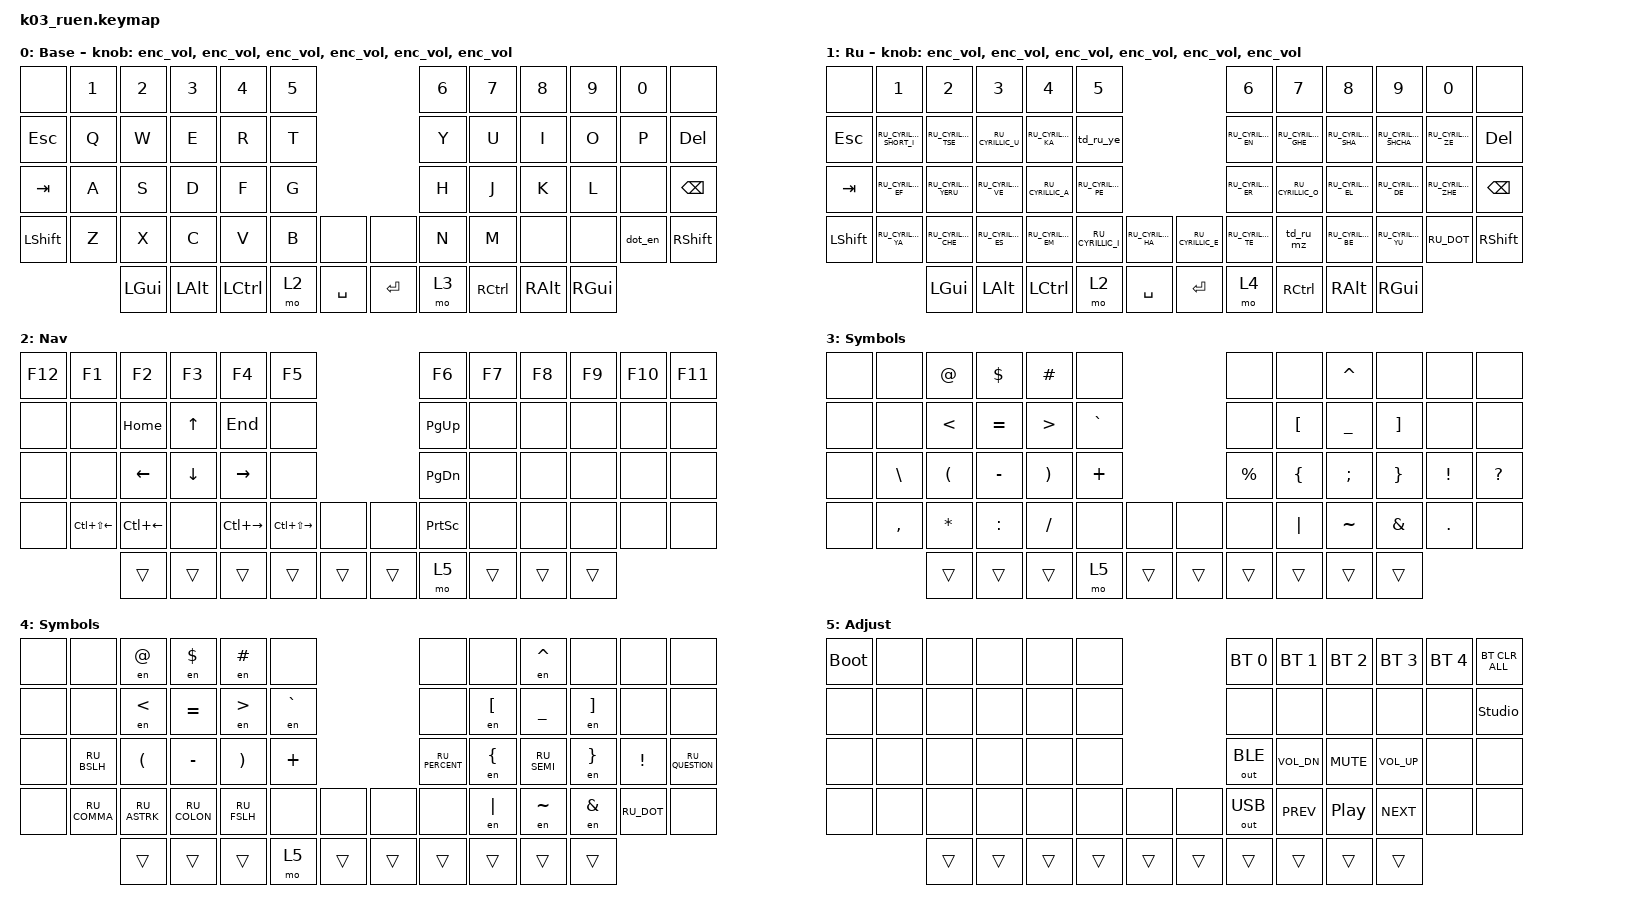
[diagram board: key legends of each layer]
#include "keys_ru.h"
#include <behaviors.dtsi>
#include <dt-bindings/zmk/bt.h>
#include <dt-bindings/zmk/keys.h>
#include <dt-bindings/zmk/outputs.h>

/ {
    behaviors {
        enc_vol: enc_vol {
            compatible = "zmk,behavior-sensor-rotate";
            label = "ENC_VOL";
            #sensor-binding-cells = <0>;
            bindings = <&kp C_VOL_UP>, <&kp C_VOL_DN>;
        };

        td_ru_mz: td_ru_mz {
            compatible = "zmk,behavior-tap-dance";
            label = "TD_RU_MZ";
            #binding-cells = <0>;
            bindings = <&kp RU_CYRILLIC_SOFT_SIGN>, <&kp RU_CYRILLIC_HARD_SIGN>;
        };

        td_ru_ye: td_ru_ye {
            compatible = "zmk,behavior-tap-dance";
            label = "TD_RU_YE";
            #binding-cells = <0>;
            bindings = <&kp RU_CYRILLIC_IE>, <&kp RU_CYRILLIC_IO>;
        };

        dot_en: dot_en {
            compatible = "zmk,behavior-mod-morph";
            label = "DOT_EN";
            bindings = <&kp DOT>, <&kp COMMA>;

            #binding-cells = <0>;
            mods = <(MOD_LSFT|MOD_RSFT)>;
        };
    };

    combos {
        compatible = "zmk,combos";

        cmben {
            bindings = <&layer_en>;
            key-positions = <15 16>;
            layers = <1>;
        };

        cmbru {
            bindings = <&layer_ru>;
            key-positions = <15 16>;
            layers = <0>;
        };
    };

    macros {
        to_ru: to_ru {
            compatible = "zmk,behavior-macro";
            #binding-cells = <0>;
            bindings = <&kp LS(LA(N2))>;
            label = "TO_RU";
            wait-ms = <0>;
            tap-ms = <30>;
        };

        to_en: to_en {
            compatible = "zmk,behavior-macro";
            #binding-cells = <0>;
            bindings = <&kp LS(LA(N1))>;
            label = "TO_EN";
            wait-ms = <0>;
            tap-ms = <30>;
        };

        layer_en: layer_en {
            compatible = "zmk,behavior-macro";
            #binding-cells = <0>;
            bindings = <&to 0 &to_en>;
            label = "LAYER_EN";
            wait-ms = <0>;
            tap-ms = <30>;
        };

        layer_ru: layer_ru {
            compatible = "zmk,behavior-macro";
            #binding-cells = <0>;
            bindings = <&to 1 &to_ru>;
            label = "LAYER_RU";
            tap-ms = <30>;
            wait-ms = <0>;
        };

        en: en {
            compatible = "zmk,behavior-macro-one-param";
            #binding-cells = <1>;
            bindings =
                <&to_en>,
                <&macro_press>,
                <&macro_param_1to1 &kp MACRO_PLACEHOLDER>,
                <&macro_pause_for_release>,
                <&macro_release>,
                <&macro_param_1to1 &kp MACRO_PLACEHOLDER>,
                <&macro_tap>,
                <&to_ru>;

            label = "EN";
            wait-ms = <0>;
            tap-ms = <30>;
        };
    };

    keymap {
        compatible = "zmk,keymap";

        en {
            bindings = <
&none      &kp N1  &kp N2    &kp N3    &kp N4     &kp N5                          &kp N6  &kp N7     &kp N8    &kp N9    &kp N0   &none
&kp ESC    &kp Q   &kp W     &kp E     &kp R      &kp T                           &kp Y   &kp U      &kp I     &kp O     &kp P    &kp DELETE
&kp TAB    &kp A   &kp S     &kp D     &kp F      &kp G                           &kp H   &kp J      &kp K     &kp L     &none    &kp BACKSPACE
&kp LSHFT  &kp Z   &kp X     &kp C     &kp V      &kp B   &none        &none      &kp N   &kp M      &none     &none     &dot_en  &kp RSHFT
                   &kp LGUI  &kp LALT  &kp LCTRL  &mo 2   &kp SPACE    &kp ENTER  &mo 3   &kp RCTRL  &kp RALT  &kp RGUI
            >;

            display-name = "Base";
            sensor-bindings =
                <&enc_vol>,
                <&enc_vol>,
                <&enc_vol>,
                <&enc_vol>,
                <&enc_vol>,
                <&enc_vol>;
        };

        ru {
            display-name = "Ru";
            bindings = <
&none      &kp N1                   &kp N2                &kp N3              &kp N4              &kp N5                                                       &kp N6              &kp N7               &kp N8               &kp N9                 &kp N0               &none
&kp ESC    &kp RU_CYRILLIC_SHORT_I  &kp RU_CYRILLIC_TSE   &kp RU_CYRILLIC_U   &kp RU_CYRILLIC_KA  &td_ru_ye                                                    &kp RU_CYRILLIC_EN  &kp RU_CYRILLIC_GHE  &kp RU_CYRILLIC_SHA  &kp RU_CYRILLIC_SHCHA  &kp RU_CYRILLIC_ZE   &kp DELETE
&kp TAB    &kp RU_CYRILLIC_EF       &kp RU_CYRILLIC_YERU  &kp RU_CYRILLIC_VE  &kp RU_CYRILLIC_A   &kp RU_CYRILLIC_PE                                           &kp RU_CYRILLIC_ER  &kp RU_CYRILLIC_O    &kp RU_CYRILLIC_EL   &kp RU_CYRILLIC_DE     &kp RU_CYRILLIC_ZHE  &kp BACKSPACE
&kp LSHFT  &kp RU_CYRILLIC_YA       &kp RU_CYRILLIC_CHE   &kp RU_CYRILLIC_ES  &kp RU_CYRILLIC_EM  &kp RU_CYRILLIC_I   &kp RU_CYRILLIC_HA    &kp RU_CYRILLIC_E  &kp RU_CYRILLIC_TE  &td_ru_mz            &kp RU_CYRILLIC_BE   &kp RU_CYRILLIC_YU     &kp RU_DOT           &kp RSHFT
                                    &kp LGUI              &kp LALT            &kp LCTRL           &mo 2               &kp SPACE             &kp ENTER          &mo 4               &kp RCTRL            &kp RALT             &kp RGUI
            >;

            sensor-bindings =
                <&enc_vol>,
                <&enc_vol>,
                <&enc_vol>,
                <&enc_vol>,
                <&enc_vol>,
                <&enc_vol>;
        };

        nav {
            bindings = <
&kp F12  &kp F1            &kp F2        &kp F3    &kp F4         &kp F5                                     &kp F6           &kp F7  &kp F8  &kp F9  &kp F10  &kp F11
&none    &none             &kp HOME      &kp UP    &kp END        &none                                      &kp PG_UP        &none   &none   &none   &none    &none
&none    &none             &kp LEFT      &kp DOWN  &kp RIGHT      &none                                      &kp PG_DN        &none   &none   &none   &none    &none
&none    &kp LC(LS(LEFT))  &kp LC(LEFT)  &none     &kp LC(RIGHT)  &kp LC(LS(RIGHT_ARROW))  &none     &none   &kp PRINTSCREEN  &none   &none   &none   &none    &none
                           &trans        &trans    &trans         &trans                   &trans    &trans  &mo 5            &trans  &trans  &trans
            >;

            display-name = "Nav";
        };

        sym_en {
            bindings = <
&none  &none      &kp AT    &kp DLLR   &kp HASH  &none                        &none      &none     &kp CARET  &none     &none     &none
&none  &none      &kp LT    &kp EQUAL  &kp GT    &kp GRAVE                    &none      &kp LBKT  &kp UNDER  &kp RBKT  &none     &none
&none  &kp BSLH   &kp LPAR  &kp MINUS  &kp RPAR  &kp PLUS                     &kp PRCNT  &kp LBRC  &kp SEMI   &kp RBRC  &kp EXCL  &kp QUESTION
&none  &kp COMMA  &kp STAR  &kp COLON  &kp FSLH  &none      &none     &none   &none      &kp PIPE  &kp TILDE  &kp AMPS  &kp DOT   &none
                  &trans    &trans     &trans    &mo 5      &trans    &trans  &trans     &trans    &trans     &trans
            >;

            display-name = "Symbols";
        };

        sym_ru {
            display-name = "Symbols";
            bindings = <
&none  &none         &en AT        &en DLLR      &en HASH     &none                        &none           &none     &en CARET    &none     &none       &none
&none  &none         &en LT        &kp EQUAL     &en GT       &en GRAVE                    &none           &en LBKT  &kp UNDER    &en RBKT  &none       &none
&none  &kp RU_BSLH   &kp LPAR      &kp MINUS     &kp RPAR     &kp PLUS                     &kp RU_PERCENT  &en LBRC  &kp RU_SEMI  &en RBRC  &kp EXCL    &kp RU_QUESTION
&none  &kp RU_COMMA  &kp RU_ASTRK  &kp RU_COLON  &kp RU_FSLH  &none      &none     &none   &none           &en PIPE  &en TILDE    &en AMPS  &kp RU_DOT  &none
                     &trans        &trans        &trans       &mo 5      &trans    &trans  &trans          &trans    &trans       &trans
            >;
        };

        adj {
            bindings = <
&bootloader  &none  &none   &none   &none   &none                     &bt BT_SEL 0  &bt BT_SEL 1  &bt BT_SEL 2      &bt BT_SEL 3  &bt BT_SEL 4  &bt BT_CLR_ALL
&none        &none  &none   &none   &none   &none                     &none         &none         &none             &none         &none         &studio_unlock
&none        &none  &none   &none   &none   &none                     &out OUT_BLE  &kp C_VOL_DN  &kp C_MUTE        &kp C_VOL_UP  &none         &none
&none        &none  &none   &none   &none   &none   &none     &none   &out OUT_USB  &kp C_PREV    &kp C_PLAY_PAUSE  &kp C_NEXT    &none         &none
                    &trans  &trans  &trans  &trans  &trans    &trans  &trans        &trans        &trans            &trans
            >;

            display-name = "Adjust";
        };
    };
};
